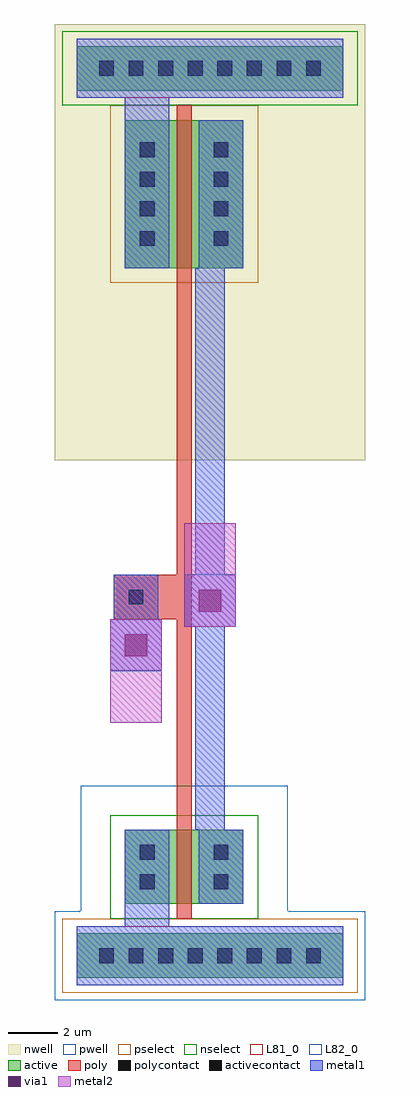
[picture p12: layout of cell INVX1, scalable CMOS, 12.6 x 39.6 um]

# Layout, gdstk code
import gdstk
lib = gdstk.Library(unit=1e-6, precision=1e-09)
def R(c, l, rs):  # rectangles x0, y0, x1, y1
    for r in rs: c.add(gdstk.rectangle(r[:2], r[2:], *l))
def A(c, l, x, y, w, h, nx, ny, dx, dy):  # array of equal rectangles
    R(c, l, [(x+i*dx, y+j*dy, x+i*dx+w, y+j*dy+h) for i in range(nx) for j in range(ny)])
pwell = (41, 0)
nwell = (42, 0)
active = (43, 0)
pselect = (44, 0)
nselect = (45, 0)
poly = (46, 0)
polycontact = (47, 0)
activecontact = (48, 0)
metal1 = (49, 0)
via1 = (50, 0)
metal2 = (51, 0)
L81_0 = (81, 0)
L82_0 = (82, 0)

invx1 = lib.new_cell('INVX1')
R(invx1, pwell, [(-1.8,-1.8,10.8,1.8), (-0.75,1.8,7.65,6.9)])
R(invx1, nwell, [(-1.8,20.1,10.8,37.8)])
R(invx1, active, [(-0.9,-0.9,9.9,0.9), (1.05,2.1,5.85,5.1), (1.05,27.9,5.85,33.9), (-0.9,35.1,9.9,36.9)])
R(invx1, pselect, [(-1.5,-1.5,10.5,1.5), (0.45,27.3,6.45,34.5)])
R(invx1, nselect, [(0.45,1.5,6.45,5.7), (-1.5,34.5,10.5,37.5)])
R(invx1, poly, [(3.15,1.5,3.75,13.65), (0.6,13.65,3.75,15.45), (3.15,15.45,3.75,34.5)])
R(invx1, polycontact, [(1.2,14.25,1.8,14.85)])
A(invx1, activecontact, 0, -0.3, 0.6, 0.6, 8, 2, 1.2, 36)
A(invx1, activecontact, 1.65, 28.8, 0.6, 0.6, 1, 4, 0, 1.2)
A(invx1, activecontact, 4.65, 28.8, 0.6, 0.6, 1, 4, 0, 1.2)
R(invx1, activecontact, [(1.65,2.7,2.25,3.3), (4.65,2.7,5.25,3.3), (1.65,3.9,2.25,4.5), (4.65,3.9,5.25,4.5)])
R(invx1, metal1, [(-0.9,-1.2,9.9,1.2), (1.05,1.2,2.85,5.1), (4.05,2.1,5.85,5.1), (3.9,5.1,5.1,13.35), (0.45,11.55,2.55,13.65), (3.45,13.35,5.55,15.45), (0.6,13.65,2.4,15.45), (3.9,15.45,5.1,27.9), (1.05,27.9,2.85,34.8), (4.05,27.9,5.85,33.9), (-0.9,34.8,9.9,37.2)])
R(invx1, via1, [(1.05,12.15,1.95,13.05), (4.05,13.95,4.95,14.85)])
R(invx1, metal2, [(0.45,9.45,2.55,13.65), (3.45,13.35,5.55,17.55)])
R(invx1, L81_0, [(-0.9,-1.2,9.9,1.2), (-0.9,34.8,9.9,37.2)])
R(invx1, L82_0, [(0.45,9.45,2.55,11.55), (3.45,15.45,5.55,17.55)])

lib.write_gds('INVX1.gds')
